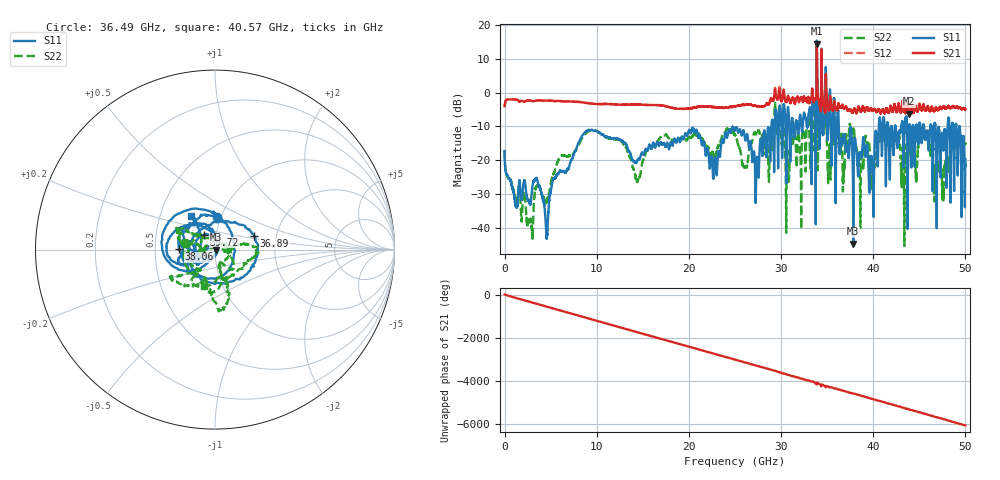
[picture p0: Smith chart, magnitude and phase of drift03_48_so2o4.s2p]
!Created with skrf (http://scikit-rf.org).
# Hz S RI R 50.0
!freq ReS11 ImS11 ReS21 ImS21 ReS12 ImS12 ReS22 ImS22
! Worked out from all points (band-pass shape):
!   10001 points, 300 kHz to 50 GHz, reference 50 ohm
!   highest |S21| = 14.48 dB at 33.88 GHz (marker M1); lowest = -6.2 dB at 43.9 GHz (marker M2)
!   |S21| within 3 dB of the highest: 33.86929 GHz to 33.88805 GHz (18.76 MHz wide, 0.0554 % of centre); 34.37704 GHz to 34.38942 GHz (12.38 MHz wide, 0.036 % of centre)
!   lowest |S11| = -44.7 dB at 37.84 GHz (marker M3), VSWR 1.01, Z = 50.6 - j0.0532 ohm
!   |S11| at or under -10 dB: start of sweep to 28.94 GHz; 36.26 GHz to 40.61 GHz (4.341 GHz wide, 11.3 % of centre); 46.74 GHz to 48.08 GHz (1.336 GHz wide, 2.82 % of centre) (the widest 3 of 60)
!   |S22| runs from -45.5 to 11.1 dB; largest |S21 - S12| = 0.82
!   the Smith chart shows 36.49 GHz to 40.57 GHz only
!   S11 on the Smith chart (normalised r, x): 36.49 GHz: 0.96, +0.36; 36.89 GHz: 1.54, +0.25; 38.06 GHz: 0.67, +0.00; 39.72 GHz: 0.87, +0.15; 40.57 GHz: 0.72, +0.28
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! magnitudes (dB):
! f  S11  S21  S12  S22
! 300 kHz  -17.3  -4.0  -4.1  -17.0
! 2.82 GHz  -32.8  -2.4  -2.4  -38.1
! 4.555 GHz  -43.3  -2.3  -2.3  -32.3
! 8.335 GHz  -13.1  -2.8  -2.8  -13.9
! 14.43 GHz  -20.0  -3.5  -3.5  -26.1
! 16.67 GHz  -15.4  -3.7  -3.7  -14.3
! 22.82 GHz  -19.3  -4.3  -4.3  -19.1
! 25 GHz  -11.0  -4.0  -4.0  -12.5
! 27.39 GHz  -19.4  -4.1  -4.1  -12.3
! 29.6 GHz  -10.4  -2.0  -2.1  -11.7
! 30.7 GHz  -5.6  -1.4  -1.4  -17.2
! 33.34 GHz  -13.8  -0.5  -0.5  -7.1
! 33.88 GHz  15.5  14.5  14.2  11.0
! 36.49 GHz  -14.9  -4.3  -4.3  -15.3
! 36.89 GHz  -12.7  -4.6  -4.6  -21.3
! 37.84 GHz  -44.7  -5.5  -5.5  -11.2
! 38.06 GHz  -14.0  -5.4  -5.3  -16.9
! 39.72 GHz  -19.7  -4.7  -4.6  -21.4
! 40.57 GHz  -12.8  -4.8  -4.9  -13.5
! 41.67 GHz  -12.1  -6.0  -5.9  -15.3
! 43.9 GHz  -9.6  -6.2  -6.2  -16.9
! 50 GHz  -19.7  -4.9  -4.9  -15.1
